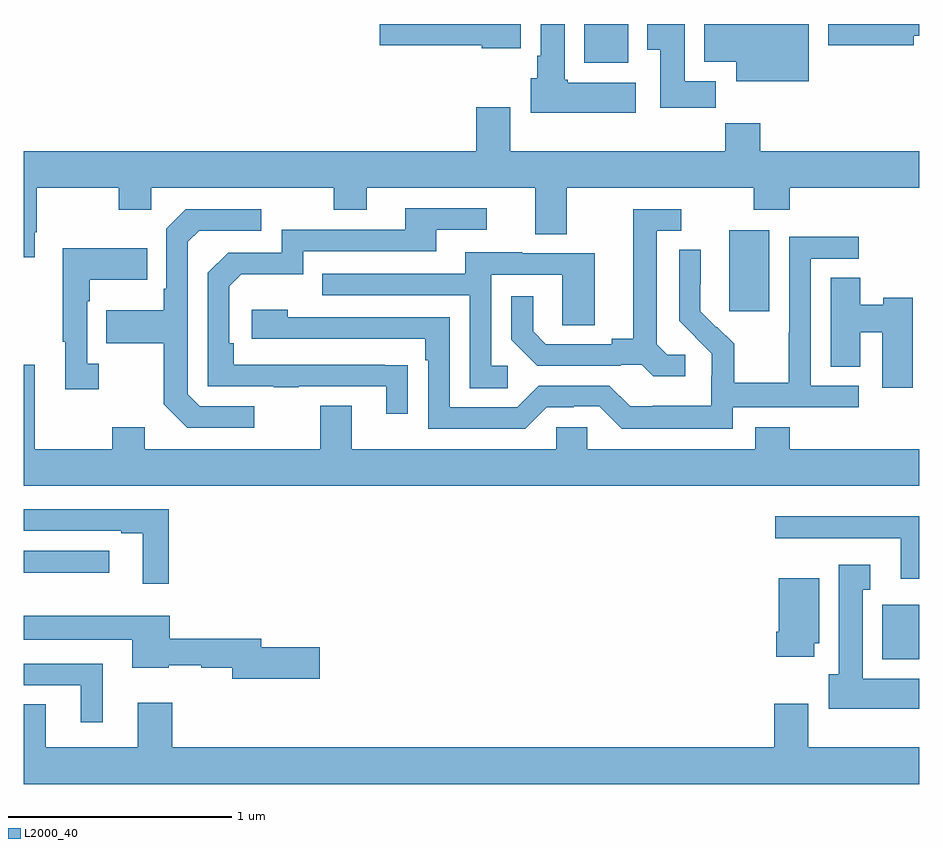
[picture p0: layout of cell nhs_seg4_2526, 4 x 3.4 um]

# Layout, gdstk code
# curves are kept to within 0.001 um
import gdstk
lib = gdstk.Library(unit=1e-6, precision=1e-09)
def R(c, l, rs):  # rectangles x0, y0, x1, y1
    for r in rs: c.add(gdstk.rectangle(r[:2], r[2:], *l))
def P(c, l, *ps):  # polygons
    for p in ps: c.add(gdstk.Polygon(p, *l))
L2000_40 = (2000, 40)

nhs_seg4_2526 = lib.new_cell('nhs_seg4_2526')
R(nhs_seg4_2526, L2000_40, [(246.836,780.062,247,780.304), (243,780.449,243.382,780.546), (246.152,781.617,246.331,781.978), (245.504,782.726,245.701,782.9)])
P(nhs_seg4_2526, L2000_40, [(245.221,782.9),(244.59,782.9),(244.59,782.806),(245.046,782.806),(245.046,782.792),(245.221,782.792)],
  [(246.976,782.848),(247,782.848),(247,782.9),(246.593,782.9),(246.593,782.806),(246.976,782.806)],
  [(246.092,782.644),(245.953,782.644),(245.953,782.9),(245.786,782.9),(245.786,782.785),(245.843,782.785),(245.843,782.526),(246.092,782.526)],
  [(246.508,782.9),(246.041,782.9),(246.041,782.732),(246.182,782.732),(246.182,782.645),(246.508,782.645)],
  [(245.734,782.638),(245.43,782.638),(245.43,782.652),(245.416,782.652),(245.416,782.9),(245.309,782.9),(245.309,782.758),(245.294,782.758),(245.294,782.658),(245.264,782.658),(245.264,782.504),(245.734,782.504)],
  [(243.049,781.969),(243.057,781.969),(243.057,782.168),(243.424,782.168),(243.424,782.069),(243.57,782.069),(243.57,782.168),(244.384,782.168),(244.384,782.069),(244.531,782.069),(244.531,782.168),(245.285,782.168),(245.285,781.96),(245.425,781.96),(245.425,782.168),(246.262,782.168),(246.262,782.069),(246.422,782.069),(246.422,782.168),(247,782.168),(247,782.332),(246.29,782.332),(246.29,782.456),(246.133,782.456),(246.133,782.332),(245.173,782.332),(245.173,782.527),(245.021,782.527),(245.021,782.332),(243,782.332),(243,781.857),(243.049,781.857)],
  [(244.715,781.376),(243.938,781.377),(243.938,781.474),(243.918,781.474),(243.918,781.728),(243.971,781.781),(244.248,781.781),(244.248,781.884),(244.843,781.884),(244.843,781.98),(245.068,781.98),(245.068,782.076),(244.703,782.076),(244.703,781.98),(244.152,781.98),(244.152,781.878),(243.912,781.878),(243.822,781.788),(243.822,781.281),(244.117,781.281),(244.117,781.276),(244.229,781.276),(244.229,781.281),(244.619,781.281),(244.619,781.158),(244.715,781.158)],
  [(245.956,781.422),(245.874,781.422),(245.827,781.469),(245.827,781.977),(245.938,781.977),(245.938,782.073),(245.723,782.073),(245.723,781.493),(245.627,781.493),(245.627,781.47),(245.332,781.47),(245.275,781.527),(245.275,781.684),(245.178,781.684),(245.178,781.49),(245.294,781.374),(245.666,781.374),(245.666,781.377),(245.76,781.377),(245.812,781.325),(245.956,781.325)],
  [(244.03,781.191),(243.786,781.191),(243.732,781.245),(243.732,781.926),(243.783,781.977),(244.06,781.977),(244.06,782.073),(243.723,782.073),(243.636,781.986),(243.636,781.717),(243.624,781.717),(243.624,781.621),(243.367,781.621),(243.367,781.474),(243.624,781.474),(243.624,781.201),(243.729,781.095),(244.03,781.095)],
  [(246.168,781.188),(246.73,781.188),(246.73,781.284),(246.516,781.284),(246.516,781.851),(246.73,781.851),(246.73,781.95),(246.42,781.95),(246.42,781.52),(246.418,781.52),(246.418,781.297),(246.173,781.297),(246.173,781.471),(246.096,781.548),(246.093,781.545),(246.023,781.616),(246.024,781.892),(245.928,781.892),(245.928,781.574),(246.074,781.426),(246.074,781.329),(246.072,781.329),(246.072,781.195),(245.809,781.195),(245.809,781.191),(245.709,781.191),(245.616,781.284),(245.301,781.284),(245.205,781.188),(244.902,781.188),(244.902,781.59),(244.178,781.59),(244.178,781.624),(244.017,781.624),(244.017,781.494),(244.793,781.494),(244.793,781.397),(244.806,781.397),(244.806,781.092),(245.241,781.092),(245.337,781.188),(245.456,781.188),(245.456,781.191),(245.571,781.191),(245.671,781.091),(246.168,781.091)],
  [(243.334,781.382),(243.282,781.382),(243.282,781.661),(243.295,781.661),(243.295,781.757),(243.551,781.757),(243.551,781.897),(243.174,781.897),(243.174,781.481),(243.185,781.481),(243.185,781.269),(243.334,781.269)],
  [(245.161,781.374),(245.088,781.374),(245.088,781.779),(245.406,781.779),(245.406,781.555),(245.551,781.555),(245.551,781.875),(245.227,781.875),(245.227,781.879),(244.973,781.879),(244.973,781.785),(244.333,781.785),(244.333,781.689),(244.992,781.689),(244.992,781.273),(245.161,781.273)],
  [(246.971,781.676),(246.84,781.676),(246.84,781.645),(246.736,781.645),(246.736,781.766),(246.605,781.766),(246.605,781.369),(246.736,781.369),(246.736,781.523),(246.836,781.523),(246.836,781.275),(246.971,781.275)],
  [(247,781),(246.422,781),(246.422,781.099),(246.269,781.099),(246.269,781),(245.517,781),(245.517,781.098),(245.379,781.098),(245.379,781),(244.465,781),(244.465,781.195),(244.325,781.195),(244.325,781),(243.541,781),(243.541,781.099),(243.394,781.099),(243.394,781),(243.049,781),(243.049,781.378),(243,781.378),(243,780.836),(247,780.836)],
  [(243.647,780.732),(243,780.732),(243,780.636),(243.434,780.636),(243.434,780.624),(243.53,780.624),(243.53,780.399),(243.647,780.399)],
  [(247,780.7),(246.357,780.7),(246.357,780.603),(246.917,780.603),(246.917,780.422),(247,780.422)],
  [(247,779.974),(246.748,779.974),(246.748,780.371),(246.781,780.371),(246.781,780.484),(246.641,780.484),(246.641,779.994),(246.596,779.994),(246.596,779.84),(247,779.84)],
  [(246.532,780.132),(246.553,780.132),(246.553,780.424),(246.374,780.424),(246.374,780.184),(246.362,780.184),(246.362,780.072),(246.532,780.072)],
  [(244.321,780.116),(244.06,780.116),(244.06,780.152),(243.652,780.152),(243.652,780.256),(243,780.256),(243,780.149),(243.485,780.149),(243.485,780.023),(243.648,780.023),(243.648,780.035),(243.792,780.035),(243.792,780.024),(243.932,780.024),(243.932,779.974),(244.321,779.974)],
  [(243.352,780.042),(243,780.042),(243,779.946),(243.254,779.946),(243.254,779.781),(243.352,779.781)],
  [(247,779.668),(246.505,779.668),(246.505,779.863),(246.353,779.863),(246.353,779.668),(243.662,779.668),(243.662,779.866),(243.509,779.866),(243.509,779.668),(243.097,779.668),(243.097,779.861),(243,779.861),(243,779.504),(247,779.504)])

lib.write_gds('nhs_seg4_2526.gds')
